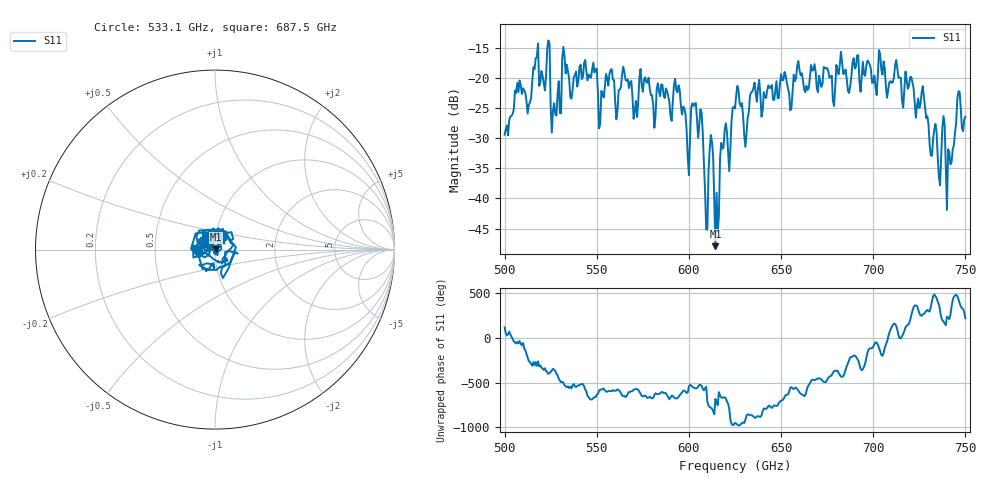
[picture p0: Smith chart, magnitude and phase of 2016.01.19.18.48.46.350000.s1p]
!Created with skrf (http://scikit-rf.org).
# GHz S RI R 50.0
!freq ReS11 ImS11
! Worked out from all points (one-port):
!   401 points, 500 GHz to 750 GHz, reference 50 ohm
!   lowest |S11| = -47.9 dB at 614.4 GHz (marker M1), VSWR 1.01, Z = 50.3 + j0.235 ohm
!   |S11| at or under -10 dB: start of sweep to end of sweep
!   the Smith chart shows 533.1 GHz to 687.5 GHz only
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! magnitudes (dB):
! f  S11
! 500 GHz  -29.4
! 506.9 GHz  -20.9
! 513.1 GHz  -24.4
! 516.9 GHz  -16.7
! 523.8 GHz  -13.8
! 526.9 GHz  -24.2
! 531.2 GHz  -16.8
! 562.5 GHz  -22.0
! 593.8 GHz  -22.4
! 599.4 GHz  -33.2
! 602.5 GHz  -24.7
! 606.2 GHz  -25.2
! 609.4 GHz  -45.1
! 611.9 GHz  -29.5
! 614.4 GHz  -47.9
! 615.6 GHz  -45.6
! 618.8 GHz  -31.6
! 621.9 GHz  -35.5
! 625 GHz  -25.1
! 630.6 GHz  -31.5
! 634.4 GHz  -22.3
! 656.2 GHz  -22.1
! 660 GHz  -18.7
! 687.5 GHz  -21.3
! 718.8 GHz  -21.8
! 740.6 GHz  -31.8
! 746.2 GHz  -22.2
! 750 GHz  -26.5
